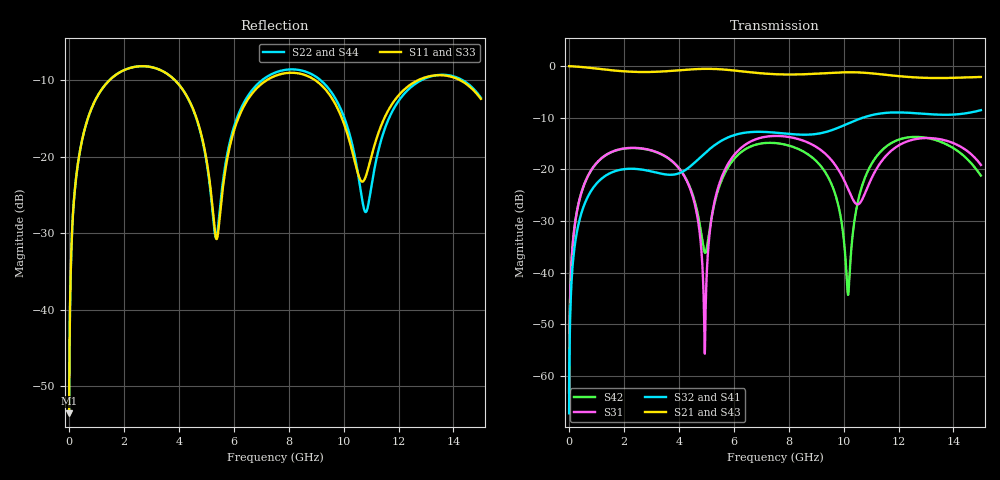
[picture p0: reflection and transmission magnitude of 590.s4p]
! Created with skrf 1.8.0 (http://scikit-rf.org).
# GHz S RI R 50.0
!freq ReS11 ImS11 ReS12 ImS12 ReS13 ImS13
! ReS14 ImS14
! ReS21 ImS21 ReS22 ImS22 ReS23 ImS23
! ReS24 ImS24
! ReS31 ImS31 ReS32 ImS32 ReS33 ImS33
! ReS34 ImS34
! ReS41 ImS41 ReS42 ImS42 ReS43 ImS43
! ReS44 ImS44
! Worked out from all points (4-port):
!   2499 points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, 5 MHz to 15 GHz, reference 50 ohm
!   strongest paths, dB at 5 MHz, 3.476 GHz, 7.19 GHz, 11.1 GHz, 15 GHz:
!     S21: 0.0, -1.0, -1.5, -1.4, -2.1
!     S43: 0.0, -1.0, -1.5, -1.4, -2.1
!     S32: -67.3, -21.0, -12.8, -9.4, -8.5
!     S41: -67.3, -21.0, -12.8, -9.4, -8.6
!     S31: -63.3, -17.4, -13.7, -20.9, -19.2
!     S42: -63.3, -17.4, -14.9, -18.3, -21.2
!   lowest |S11| = -53.6 dB at 5 MHz (marker M1), VSWR 1.00, Z = 50.2 + j0.127 ohm
!   |S11| at or under -10 dB: start of sweep to 1.47 GHz; 3.862 GHz to 7.192 GHz (3.33 GHz wide, 60.2 % of centre); 8.972 GHz to 12.7 GHz (3.731 GHz wide, 34.4 % of centre) (the widest 3 of 4)
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0.005  0.00167 0.00127  0.9983 -0.00325  8.47e-05 0.000682  -8.22e-05 -0.000425
       0.9983 -0.00325  0.00167 0.00127  -8.22e-05 -0.000425  8.47e-05 0.000682
       8.47e-05 0.000682  -8.22e-05 -0.000425  0.00167 0.00127  0.9983 -0.00325
       -8.22e-05 -0.000425  8.47e-05 0.000682  0.9983 -0.00325  0.00167 0.00127
0.3126303  0.0248 0.0832  0.966 -0.2022  0.0118 0.0404  -0.00972 -0.0248
           0.966 -0.2022  0.0249 0.0832  -0.00972 -0.0248  0.0117 0.0404
           0.0118 0.0404  -0.00972 -0.0248  0.0248 0.0832  0.966 -0.2022
           -0.00972 -0.0248  0.0117 0.0404  0.966 -0.2022  0.0249 0.0832
1.569404  0.2786 0.1738  0.5289 -0.7408  0.1353 0.0599  -0.0935 -0.00269
          0.5289 -0.7408  0.279 0.1735  -0.0936 -0.00257  0.1342 0.0615
          0.1353 0.0599  -0.0936 -0.00257  0.2785 0.1739  0.5289 -0.7408
          -0.0935 -0.00269  0.1342 0.0615  0.5289 -0.7408  0.2791 0.1734
4.945811  0.0519 -0.097  -0.8889 -0.3071  0.00163 9.53e-05  -0.0431 0.1364
          -0.8889 -0.3071  0.0511 -0.0947  -0.0416 0.137  -0.015 -0.00441
          0.00163 9.53e-05  -0.0416 0.137  0.0517 -0.0956  -0.8892 -0.3067
          -0.0431 0.1364  -0.015 -0.00441  -0.8892 -0.3067  0.0503 -0.0934
8.347228  0.3501 -0.0307  0.00687 0.8301  0.1523 -0.1241  0.2049 -0.0677
          0.00687 0.8301  0.3666 -0.0529  0.205 -0.0718  0.1492 -0.0503
          0.1523 -0.1241  0.205 -0.0718  0.3527 -0.0297  0.00622 0.8288
          0.2049 -0.0677  0.1492 -0.0503  0.00622 0.8288  0.3707 -0.0531
10.16048  0.1016 -0.0918  0.7528 0.4405  -0.0473 -0.0445  0.1354 -0.2419
          0.7528 0.4405  0.0872 -0.1252  0.1297 -0.2452  0.00605 0.00056
          -0.0473 -0.0445  0.1297 -0.2452  0.1041 -0.0947  0.7511 0.4422
          0.1354 -0.2419  0.00605 0.00056  0.7511 0.4422  0.0899 -0.1283
15  0.2078 -0.1185  -0.4548 -0.6395  -0.0279 -0.1067  -0.2981 0.225
    -0.4548 -0.6395  0.2026 -0.1345  -0.2899 0.2363  -0.0279 -0.0824
    -0.0279 -0.1067  -0.2899 0.2363  0.2165 -0.1155  -0.4501 -0.641
    -0.2981 0.225  -0.0279 -0.0824  -0.4501 -0.641  0.2052 -0.1421
